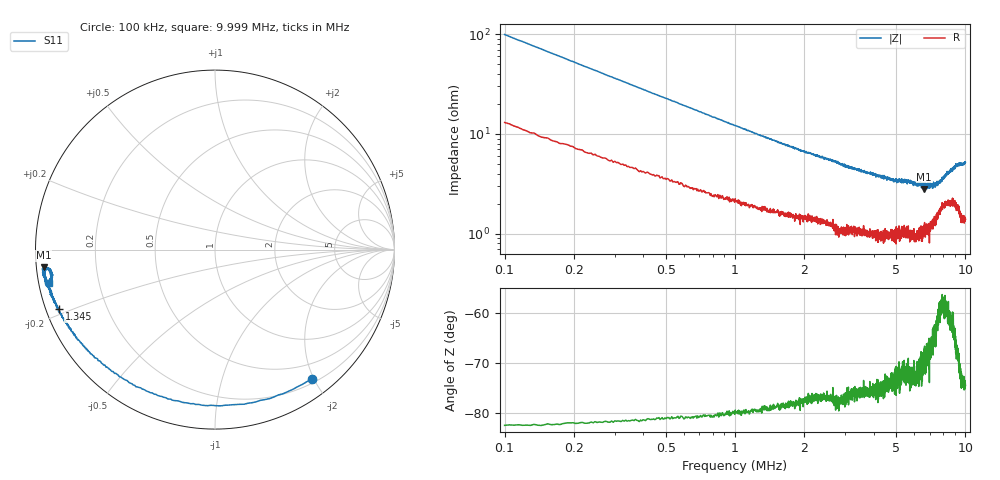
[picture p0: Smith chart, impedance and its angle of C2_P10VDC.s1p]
# HZ S RI R 50
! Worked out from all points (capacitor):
!   2020 points, 100 kHz to 9.999 MHz, reference 50 ohm
!   read as one part to ground: C = 15.1 nF near 149 kHz
!   lowest |Z| = 2.81 ohm at 6.631 MHz (marker M1)
!   S11 on the Smith chart (normalised r, x): 100 kHz: 0.26, -1.98; 1.345 MHz: 0.04, -0.18; 9.999 MHz: 0.03, -0.10
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100000  0.5419 -0.7188
134321  0.3529 -0.8099
163739  0.2063 -0.8531
188254  0.0959 -0.8644
237284  -0.089 -0.8626
281411  -0.2253 -0.8415
320635  -0.3195 -0.813
369665  -0.4141 -0.7699
423598  -0.4983 -0.7264
477531  -0.5638 -0.6846
619718  -0.6826 -0.589
786420  -0.7617 -0.5009
1002152  -0.8186 -0.4173
1340459  -0.8729 -0.3343
1345362  -0.8692 -0.3316
1634639  -0.8994 -0.2833
1943528  -0.91 -0.2458
2576015  -0.9289 -0.2024
3056509  -0.9364 -0.1732
3816474  -0.9521 -0.1508
5052030  -0.9515 -0.1217
6287586  -0.9533 -0.1124
6630796  -0.9531 -0.0993
7528045  -0.9363 -0.1064
8194853  -0.9164 -0.1207
8763601  -0.9104 -0.1428
9469633  -0.9234 -0.1786
9999157  -0.9275 -0.1884
